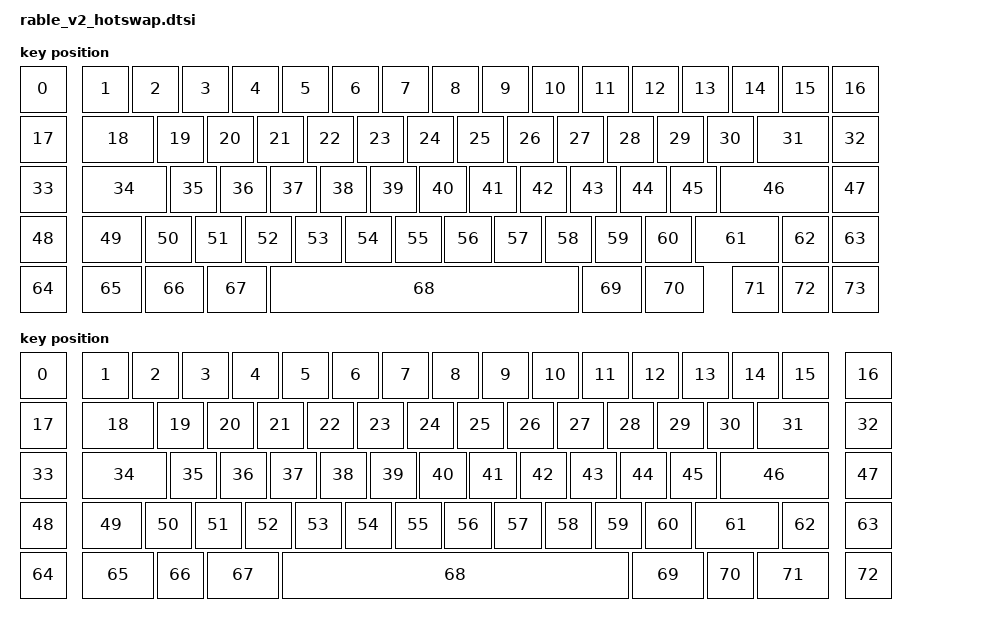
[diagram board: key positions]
#include <physical_layouts.dtsi>

/ {
    full_65_layout: full_65_layout {
        compatible = "zmk,physical-layout";
        display-name = "full_65_layout";

        kscan = <&kscan0>;
        transform = <&default_transform>;

        keys  //                     w   h    x    y     rot    rx    ry
            = <&key_physical_attrs 100 100    0    0       0     0     0>
            , <&key_physical_attrs 100 100  125    0       0     0     0>
            , <&key_physical_attrs 100 100  225    0       0     0     0>
            , <&key_physical_attrs 100 100  325    0       0     0     0>
            , <&key_physical_attrs 100 100  425    0       0     0     0>
            , <&key_physical_attrs 100 100  525    0       0     0     0>
            , <&key_physical_attrs 100 100  625    0       0     0     0>
            , <&key_physical_attrs 100 100  725    0       0     0     0>
            , <&key_physical_attrs 100 100  825    0       0     0     0>
            , <&key_physical_attrs 100 100  925    0       0     0     0>
            , <&key_physical_attrs 100 100 1025    0       0     0     0>
            , <&key_physical_attrs 100 100 1125    0       0     0     0>
            , <&key_physical_attrs 100 100 1225    0       0     0     0>
            , <&key_physical_attrs 100 100 1325    0       0     0     0>
            , <&key_physical_attrs 100 100 1425    0       0     0     0>
            , <&key_physical_attrs 100 100 1525    0       0     0     0>
            , <&key_physical_attrs 100 100 1625    0       0     0     0>
            , <&key_physical_attrs 100 100    0  100       0     0     0>
            , <&key_physical_attrs 150 100  125  100       0     0     0>
            , <&key_physical_attrs 100 100  275  100       0     0     0>
            , <&key_physical_attrs 100 100  375  100       0     0     0>
            , <&key_physical_attrs 100 100  475  100       0     0     0>
            , <&key_physical_attrs 100 100  575  100       0     0     0>
            , <&key_physical_attrs 100 100  675  100       0     0     0>
            , <&key_physical_attrs 100 100  775  100       0     0     0>
            , <&key_physical_attrs 100 100  875  100       0     0     0>
            , <&key_physical_attrs 100 100  975  100       0     0     0>
            , <&key_physical_attrs 100 100 1075  100       0     0     0>
            , <&key_physical_attrs 100 100 1175  100       0     0     0>
            , <&key_physical_attrs 100 100 1275  100       0     0     0>
            , <&key_physical_attrs 100 100 1375  100       0     0     0>
            , <&key_physical_attrs 150 100 1475  100       0     0     0>
            , <&key_physical_attrs 100 100 1625  100       0     0     0>
            , <&key_physical_attrs 100 100    0  200       0     0     0>
            , <&key_physical_attrs 175 100  125  200       0     0     0>
            , <&key_physical_attrs 100 100  300  200       0     0     0>
            , <&key_physical_attrs 100 100  400  200       0     0     0>
            , <&key_physical_attrs 100 100  500  200       0     0     0>
            , <&key_physical_attrs 100 100  600  200       0     0     0>
            , <&key_physical_attrs 100 100  700  200       0     0     0>
            , <&key_physical_attrs 100 100  800  200       0     0     0>
            , <&key_physical_attrs 100 100  900  200       0     0     0>
            , <&key_physical_attrs 100 100 1000  200       0     0     0>
            , <&key_physical_attrs 100 100 1100  200       0     0     0>
            , <&key_physical_attrs 100 100 1200  200       0     0     0>
            , <&key_physical_attrs 100 100 1300  200       0     0     0>
            , <&key_physical_attrs 225 100 1400  200       0     0     0>
            , <&key_physical_attrs 100 100 1625  200       0     0     0>
            , <&key_physical_attrs 100 100    0  300       0     0     0>
            , <&key_physical_attrs 125 100  125  300       0     0     0>
            , <&key_physical_attrs 100 100  250  300       0     0     0>
            , <&key_physical_attrs 100 100  350  300       0     0     0>
            , <&key_physical_attrs 100 100  450  300       0     0     0>
            , <&key_physical_attrs 100 100  550  300       0     0     0>
            , <&key_physical_attrs 100 100  650  300       0     0     0>
            , <&key_physical_attrs 100 100  750  300       0     0     0>
            , <&key_physical_attrs 100 100  850  300       0     0     0>
            , <&key_physical_attrs 100 100  950  300       0     0     0>
            , <&key_physical_attrs 100 100 1050  300       0     0     0>
            , <&key_physical_attrs 100 100 1150  300       0     0     0>
            , <&key_physical_attrs 100 100 1250  300       0     0     0>
            , <&key_physical_attrs 175 100 1350  300       0     0     0>
            , <&key_physical_attrs 100 100 1525  300       0     0     0>
            , <&key_physical_attrs 100 100 1625  300       0     0     0>
            , <&key_physical_attrs 100 100    0  400       0     0     0>
            , <&key_physical_attrs 125 100  125  400       0     0     0>
            , <&key_physical_attrs 125 100  250  400       0     0     0>
            , <&key_physical_attrs 125 100  375  400       0     0     0>
            , <&key_physical_attrs 625 100  500  400       0     0     0>
            , <&key_physical_attrs 125 100 1125  400       0     0     0>
            , <&key_physical_attrs 125 100 1250  400       0     0     0>
            , <&key_physical_attrs 100 100 1425  400       0     0     0>
            , <&key_physical_attrs 100 100 1525  400       0     0     0>
            , <&key_physical_attrs 100 100 1625  400       0     0     0>
            ;
    };

    tsangan_65_layout: tsangan_65_layout {
        compatible = "zmk,physical-layout";
        display-name = "TSANGAN";

        kscan = <&alt_kscan>;
        transform = <&alt_transform>;

        keys  //                     w   h    x    y     rot    rx    ry
            = <&key_physical_attrs 100 100    0    0       0     0     0>
            , <&key_physical_attrs 100 100  125    0       0     0     0>
            , <&key_physical_attrs 100 100  225    0       0     0     0>
            , <&key_physical_attrs 100 100  325    0       0     0     0>
            , <&key_physical_attrs 100 100  425    0       0     0     0>
            , <&key_physical_attrs 100 100  525    0       0     0     0>
            , <&key_physical_attrs 100 100  625    0       0     0     0>
            , <&key_physical_attrs 100 100  725    0       0     0     0>
            , <&key_physical_attrs 100 100  825    0       0     0     0>
            , <&key_physical_attrs 100 100  925    0       0     0     0>
            , <&key_physical_attrs 100 100 1025    0       0     0     0>
            , <&key_physical_attrs 100 100 1125    0       0     0     0>
            , <&key_physical_attrs 100 100 1225    0       0     0     0>
            , <&key_physical_attrs 100 100 1325    0       0     0     0>
            , <&key_physical_attrs 100 100 1425    0       0     0     0>
            , <&key_physical_attrs 100 100 1525    0       0     0     0>
            , <&key_physical_attrs 100 100 1650    0       0     0     0>
            , <&key_physical_attrs 100 100    0  100       0     0     0>
            , <&key_physical_attrs 150 100  125  100       0     0     0>
            , <&key_physical_attrs 100 100  275  100       0     0     0>
            , <&key_physical_attrs 100 100  375  100       0     0     0>
            , <&key_physical_attrs 100 100  475  100       0     0     0>
            , <&key_physical_attrs 100 100  575  100       0     0     0>
            , <&key_physical_attrs 100 100  675  100       0     0     0>
            , <&key_physical_attrs 100 100  775  100       0     0     0>
            , <&key_physical_attrs 100 100  875  100       0     0     0>
            , <&key_physical_attrs 100 100  975  100       0     0     0>
            , <&key_physical_attrs 100 100 1075  100       0     0     0>
            , <&key_physical_attrs 100 100 1175  100       0     0     0>
            , <&key_physical_attrs 100 100 1275  100       0     0     0>
            , <&key_physical_attrs 100 100 1375  100       0     0     0>
            , <&key_physical_attrs 150 100 1475  100       0     0     0>
            , <&key_physical_attrs 100 100 1650  100       0     0     0>
            , <&key_physical_attrs 100 100    0  200       0     0     0>
            , <&key_physical_attrs 175 100  125  200       0     0     0>
            , <&key_physical_attrs 100 100  300  200       0     0     0>
            , <&key_physical_attrs 100 100  400  200       0     0     0>
            , <&key_physical_attrs 100 100  500  200       0     0     0>
            , <&key_physical_attrs 100 100  600  200       0     0     0>
            , <&key_physical_attrs 100 100  700  200       0     0     0>
            , <&key_physical_attrs 100 100  800  200       0     0     0>
            , <&key_physical_attrs 100 100  900  200       0     0     0>
            , <&key_physical_attrs 100 100 1000  200       0     0     0>
            , <&key_physical_attrs 100 100 1100  200       0     0     0>
            , <&key_physical_attrs 100 100 1200  200       0     0     0>
            , <&key_physical_attrs 100 100 1300  200       0     0     0>
            , <&key_physical_attrs 225 100 1400  200       0     0     0>
            , <&key_physical_attrs 100 100 1650  200       0     0     0>
            , <&key_physical_attrs 100 100    0  300       0     0     0>
            , <&key_physical_attrs 125 100  125  300       0     0     0>
            , <&key_physical_attrs 100 100  250  300       0     0     0>
            , <&key_physical_attrs 100 100  350  300       0     0     0>
            , <&key_physical_attrs 100 100  450  300       0     0     0>
            , <&key_physical_attrs 100 100  550  300       0     0     0>
            , <&key_physical_attrs 100 100  650  300       0     0     0>
            , <&key_physical_attrs 100 100  750  300       0     0     0>
            , <&key_physical_attrs 100 100  850  300       0     0     0>
            , <&key_physical_attrs 100 100  950  300       0     0     0>
            , <&key_physical_attrs 100 100 1050  300       0     0     0>
            , <&key_physical_attrs 100 100 1150  300       0     0     0>
            , <&key_physical_attrs 100 100 1250  300       0     0     0>
            , <&key_physical_attrs 175 100 1350  300       0     0     0>
            , <&key_physical_attrs 100 100 1525  300       0     0     0>
            , <&key_physical_attrs 100 100 1650  300       0     0     0>
            , <&key_physical_attrs 100 100    0  400       0     0     0>
            , <&key_physical_attrs 150 100  125  400       0     0     0>
            , <&key_physical_attrs 100 100  275  400       0     0     0>
            , <&key_physical_attrs 150 100  375  400       0     0     0>
            , <&key_physical_attrs 700 100  525  400       0     0     0>
            , <&key_physical_attrs 150 100 1225  400       0     0     0>
            , <&key_physical_attrs 100 100 1375  400       0     0     0>
            , <&key_physical_attrs 150 100 1475  400       0     0     0>
            , <&key_physical_attrs 100 100 1650  400       0     0     0>
            ;
    };
    
    position_map {
        compatible = "zmk,physical-layout-position-map";

        complete;

        layout0: layout0 {
            physical-layout = <&full_65_layout>;
            positions
                = < 0  1  2  3  4  5  6  7  8  9 10 11 12 13 14 15 16>
                , < 17 18 19 20 21 22 23 24 25 26 27 28 29 30 31 32 >
                , < 33 34 35 36 37 38 39 40 41 42 43 44 45 46 47>
                , < 48 49 50 51 52 53 54 55 56 57 58 59 60 61 62 63>
                , < 64 65 66 67         68          69 70 71 72 73>;   
        };

        layout1: layout1 {
            physical-layout = <&tsangan_65_layout>;
            positions
                = < 0  1  2  3  4  5  6  7  8  9 10 11 12 13 14 15 16>
                , < 17 18 19 20 21 22 23 24 25 26 27 28 29 30 31 32 >
                , < 33 34 35 36 37 38 39 40 41 42 43 44 45 46 47>
                , < 48 49 50 51 52 53 54 55 56 57 58 59 60 61 62 63>
                , < 64 65 66 67         68          69 70 71 72 73>;   
        };
    };
};
